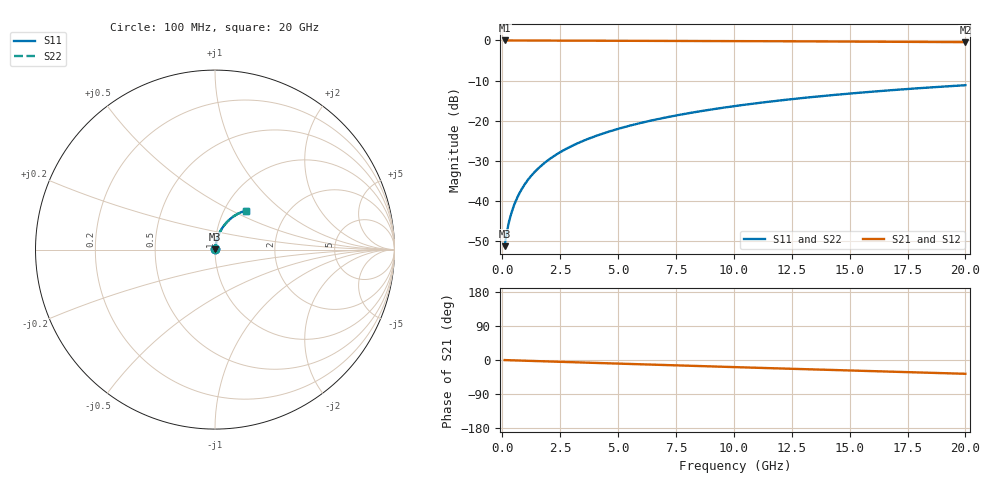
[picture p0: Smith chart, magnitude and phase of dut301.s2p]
! Touchstone file exported from HFSS 2026.1.0
!  File:  C:/ffzhzh/LocalFiles/Ansys_Project_Files/temp_train_TMRDL_301_1783003120_4048.aedt
!  Generated:  10:40:09 PM Jul  2, 2026
!  Design:  TMRDL
!  Project:  temp_train_TMRDL_301_1783003120_4048
! Variables:
!  h_bsmrdl = 2um
!  h_ox = 20um
!  h_rdl = 5um
!  h_sub = 80um
!  h_tmrdl = 4.54um
!  h_tsv = 80um
!  h_via = 3um
!  l_bsmrdl = 300um
!  l_sub = 961.65um
!  l_tmrdl = 561.65um
!  m_sub = 200um
!  pitch = 43.47um
!  r_tsv = 6um
!  s_tmrdl = 10um
!  w_bsmrdl = 18um
!  w_sub = 500um
!  w_tmrdl = 23.79um
!  x_tsv_center1 = 573.545um
!  x_tsv_center2 = 891.545um
!  x_tsv_center3 = 1476.985um
!  x_tsv_center4 = 1794.985um
!  x_tsv_center5 = 2380.425um
!  x_tsv_center6 = 2698.425um
# GHz S MA R 50.000000
! Terminal data exported
! Port[1] = TM_RDL1_1_T1
! Port[2] = TM_RDL1_1_T2
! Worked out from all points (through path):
!   200 points, 100 MHz to 20 GHz, reference 50 ohm
!   highest |S21| = -0.02 dB at 100 MHz (marker M1); lowest = -0.4 dB at 20 GHz (marker M2)
!   group delay of S21, straight-line fit = 5.05 ps
!   lowest |S11| = -51.2 dB at 100 MHz (marker M3), VSWR 1.01, Z = 50.2 + j0.185 ohm
!   |S11| at or under -10 dB: start of sweep to end of sweep
!   |S22| runs from -51.2 to -11.1 dB; largest |S21 - S12| = 2.5e-15
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0.1  0.00276 41.9  0.998 -0.2  0.998 -0.2  0.00276 41.9
! Gamma 0 0 0 0
! Port Impedance 50 0 50 0
0.2  0.004202 57.9  0.9978 -0.4  0.9978 -0.4  0.004202 57.9
0.3  0.005713 65.3  0.9977 -0.6  0.9977 -0.6  0.005713 65.3
0.4  0.007241 69.6  0.9976 -0.8  0.9976 -0.8  0.007241 69.6
0.5  0.008788 72.6  0.9975 -1.0  0.9975 -1.0  0.008788 72.6
0.6  0.01035 74.6  0.9974 -1.2  0.9974 -1.2  0.01035 74.6
0.8  0.01351 77.3  0.9973 -1.6  0.9973 -1.6  0.01352 77.3
1.1  0.01831 79.3  0.9971 -2.1  0.9971 -2.1  0.01831 79.3
1.5  0.02473 80.3  0.9968 -2.9  0.9968 -2.9  0.02473 80.3
1.8  0.02954 80.6  0.9965 -3.5  0.9965 -3.5  0.02954 80.6
2.1  0.03433 80.6  0.9962 -4.0  0.9962 -4.0  0.03433 80.6
2.7  0.04385 80.1  0.9955 -5.2  0.9955 -5.2  0.04385 80.1
3.5  0.05638 79.1  0.9943 -6.7  0.9943 -6.7  0.05638 79.1
4.2  0.06719 78.1  0.9932 -8.0  0.9932 -8.0  0.06719 78.1
5  0.07937 76.8  0.9918 -9.5  0.9918 -9.5  0.07937 76.8
5.9  0.09287 75.3  0.99 -11.2  0.99 -11.2  0.09288 75.3
6.8  0.1062 73.8  0.9882 -12.9  0.9882 -12.9  0.1062 73.8
8.3  0.1279 71.3  0.9849 -15.6  0.9849 -15.6  0.1279 71.3
10.1  0.1533 68.3  0.9806 -18.9  0.9806 -18.9  0.1533 68.2
13.4  0.1977 62.7  0.9716 -24.9  0.9716 -24.9  0.1977 62.6
16.7  0.2391 57.1  0.9615 -30.7  0.9615 -30.7  0.2391 57.1
20  0.277 51.6  0.9508 -36.4  0.9508 -36.4  0.277 51.6
